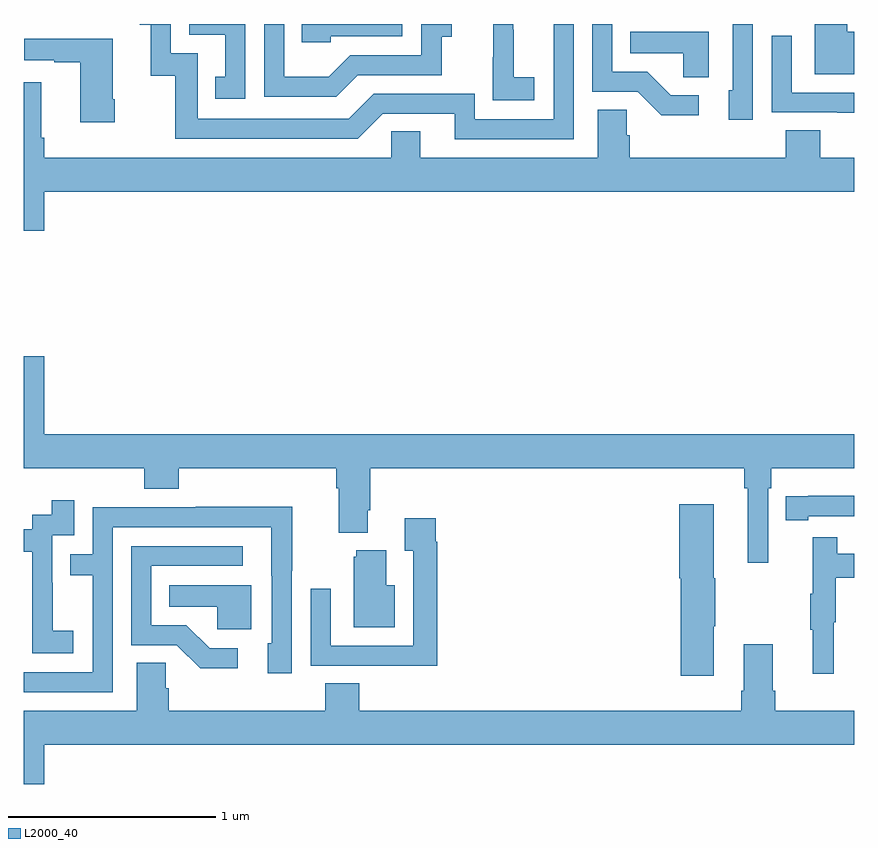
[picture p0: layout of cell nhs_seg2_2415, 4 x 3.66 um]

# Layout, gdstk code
import gdstk
lib = gdstk.Library(unit=1e-6, precision=1e-09)
def P(c, l, *ps):  # polygons
    for p in ps: c.add(gdstk.Polygon(p, *l))
L2000_40 = (2000, 40)

nhs_seg2_2415 = lib.new_cell('nhs_seg2_2415')
P(nhs_seg2_2415, L2000_40, [(238.609,625.554),(239.013,625.554),(239.013,625.739),(239.062,625.739),(239.062,625.8),(238.914,625.8),(238.914,625.65),(238.572,625.65),(238.468,625.546),(238.254,625.546),(238.254,625.8),(238.158,625.8),(238.158,625.449),(238.504,625.449)],
  [(238.068,625.8),(237.798,625.8),(237.798,625.749),(237.971,625.749),(237.971,625.545),(237.922,625.545),(237.922,625.44),(238.068,625.44)],
  [(239.458,625.543),(239.36,625.543),(239.36,625.772),(239.358,625.772),(239.358,625.8),(239.261,625.8),(239.261,625.639),(239.26,625.639),(239.26,625.433),(239.458,625.433)],
  [(238.479,625.74),(238.824,625.74),(238.824,625.8),(238.339,625.8),(238.339,625.713),(238.479,625.713)],
  [(240.51,625.8),(240.414,625.8),(240.414,625.482),(240.395,625.482),(240.395,625.338),(240.51,625.338)],
  [(239.649,625.8),(239.553,625.8),(239.553,625.341),(239.172,625.341),(239.172,625.464),(238.686,625.464),(238.566,625.344),(237.837,625.344),(237.837,625.659),(237.708,625.659),(237.708,625.8),(237.558,625.8),(237.558,625.797),(237.611,625.797),(237.611,625.551),(237.729,625.551),(237.729,625.248),(238.608,625.248),(238.728,625.368),(239.075,625.368),(239.075,625.245),(239.649,625.245)],
  [(241,625.762),(240.967,625.762),(240.967,625.8),(240.809,625.8),(240.809,625.559),(241,625.559)],
  [(240.25,625.458),(240.115,625.458),(240.004,625.569),(239.835,625.569),(239.835,625.8),(239.739,625.8),(239.739,625.473),(239.958,625.473),(240.071,625.361),(240.25,625.361)],
  [(240.298,625.762),(239.92,625.762),(239.92,625.658),(240.177,625.658),(240.177,625.543),(240.298,625.543)],
  [(241,625.47),(240.699,625.47),(240.699,625.744),(240.603,625.744),(240.603,625.374),(240.919,625.374),(240.919,625.373),(241,625.373)],
  [(237.438,625.438),(237.43,625.438),(237.43,625.729),(237.003,625.729),(237.003,625.625),(237.146,625.625),(237.146,625.615),(237.272,625.615),(237.272,625.326),(237.438,625.326)],
  [(237.1,624.992),(241,624.992),(241,625.156),(240.836,625.156),(240.836,625.289),(240.671,625.289),(240.671,625.156),(239.918,625.156),(239.918,625.265),(239.904,625.265),(239.904,625.388),(239.765,625.388),(239.765,625.156),(238.909,625.156),(238.909,625.283),(238.77,625.283),(238.77,625.156),(237.098,625.156),(237.098,625.252),(237.085,625.252),(237.085,625.519),(237,625.519),(237,624.804),(237.1,624.804)],
  [(240.585,623.564),(240.599,623.564),(240.599,623.66),(241,623.66),(241,623.824),(237.1,623.824),(237.1,624.199),(237,624.199),(237,623.66),(237.581,623.66),(237.581,623.561),(237.746,623.561),(237.746,623.66),(238.505,623.66),(238.505,623.564),(238.517,623.564),(238.517,623.351),(238.657,623.351),(238.657,623.458),(238.67,623.458),(238.67,623.66),(240.469,623.66),(240.469,623.564),(240.488,623.564),(240.488,623.205),(240.585,623.205)],
  [(240.778,623.43),(241,623.43),(241,623.527),(240.778,623.527),(240.778,623.526),(240.67,623.526),(240.67,623.41),(240.778,623.41)],
  [(237.238,622.879),(237.14,622.879),(237.14,623.108),(237.138,623.108),(237.138,623.337),(237.243,623.337),(237.243,623.506),(237.135,623.506),(237.135,623.436),(237.042,623.436),(237.042,623.367),(237,623.367),(237,623.259),(237.041,623.259),(237.041,622.975),(237.04,622.975),(237.04,622.769),(237.238,622.769)],
  [(240.322,622.9),(240.33,622.9),(240.33,623.13),(240.322,623.13),(240.322,623.488),(240.158,623.488),(240.158,623.13),(240.164,623.13),(240.164,622.662),(240.322,622.662)],
  [(237.429,623.376),(238.193,623.376),(238.193,623.143),(238.194,623.143),(238.194,622.818),(238.175,622.818),(238.175,622.674),(238.29,622.674),(238.29,623.167),(238.293,623.167),(238.293,623.474),(237.829,623.474),(237.829,623.472),(237.333,623.472),(237.333,623.247),(237.223,623.247),(237.223,623.146),(237.333,623.146),(237.333,622.677),(237,622.677),(237,622.581),(237.429,622.581)],
  [(238.991,623.306),(238.984,623.306),(238.984,623.419),(238.835,623.419),(238.835,623.263),(238.875,623.263),(238.875,622.806),(238.479,622.806),(238.479,623.08),(238.383,623.08),(238.383,622.71),(238.699,622.71),(238.699,622.709),(238.991,622.709)],
  [(240.902,622.92),(240.91,622.92),(240.91,623.134),(241,623.134),(241,623.25),(240.917,623.25),(240.917,623.329),(240.8,623.329),(240.8,623.057),(240.789,623.057),(240.789,622.883),(240.8,622.883),(240.8,622.671),(240.902,622.671)],
  [(238.03,622.794),(237.895,622.794),(237.784,622.905),(237.615,622.905),(237.615,623.19),(238.054,623.19),(238.054,623.286),(237.519,623.286),(237.519,622.809),(237.738,622.809),(237.851,622.697),(238.03,622.697)],
  [(238.786,623.098),(238.747,623.098),(238.747,623.266),(238.601,623.266),(238.601,623.235),(238.589,623.235),(238.589,622.895),(238.786,622.895)],
  [(238.096,623.098),(237.7,623.098),(237.7,622.994),(237.931,622.994),(237.931,622.886),(238.096,622.886)],
  [(237.1,622.328),(241,622.328),(241,622.492),(240.62,622.492),(240.62,622.588),(240.607,622.588),(240.607,622.813),(240.467,622.813),(240.467,622.588),(240.455,622.588),(240.455,622.492),(238.616,622.492),(238.616,622.625),(238.451,622.625),(238.451,622.492),(237.698,622.492),(237.698,622.601),(237.684,622.601),(237.684,622.724),(237.545,622.724),(237.545,622.492),(237,622.492),(237,622.14),(237.1,622.14)])

lib.write_gds('nhs_seg2_2415.gds')
